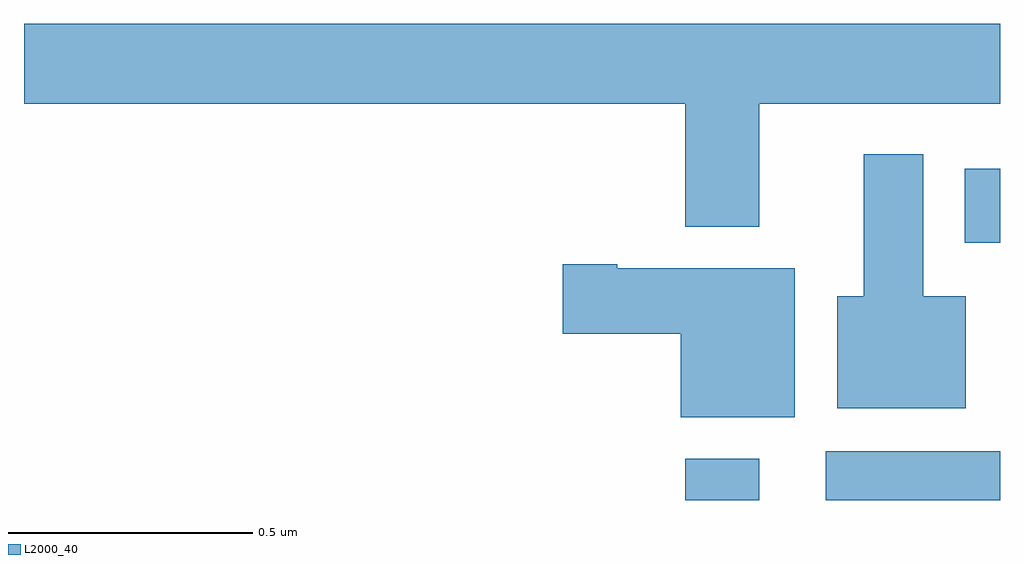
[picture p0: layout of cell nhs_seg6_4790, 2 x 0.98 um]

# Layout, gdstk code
import gdstk
lib = gdstk.Library(unit=1e-6, precision=1e-09)
def R(c, l, rs):  # rectangles x0, y0, x1, y1
    for r in rs: c.add(gdstk.rectangle(r[:2], r[2:], *l))
def P(c, l, *ps):  # polygons
    for p in ps: c.add(gdstk.Polygon(p, *l))
L2000_40 = (2000, 40)

nhs_seg6_4790 = lib.new_cell('nhs_seg6_4790')
R(nhs_seg6_4790, L2000_40, [(175.355,970.5,175.507,970.585), (175.643,970.5,176,970.6), (175.928,971.027,176,971.179)])
P(nhs_seg6_4790, L2000_40, [(175.507,971.312),(176,971.312),(176,971.476),(174,971.476),(174,971.312),(175.355,971.312),(175.355,971.06),(175.507,971.06)],
  [(175.93,970.918),(175.843,970.918),(175.843,971.209),(175.721,971.209),(175.721,970.918),(175.667,970.918),(175.667,970.688),(175.93,970.688)],
  [(175.579,970.975),(175.216,970.975),(175.216,970.983),(175.104,970.983),(175.104,970.841),(175.346,970.841),(175.346,970.67),(175.579,970.67)])

lib.write_gds('nhs_seg6_4790.gds')
